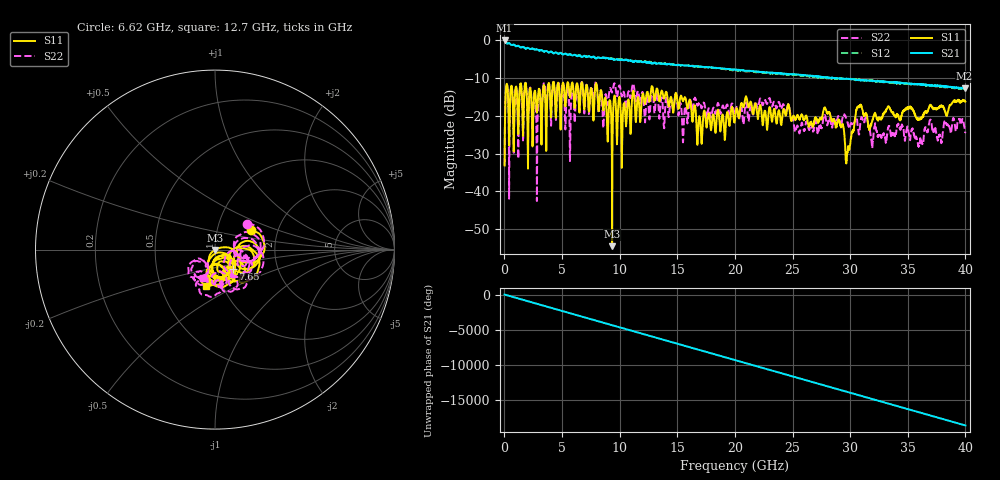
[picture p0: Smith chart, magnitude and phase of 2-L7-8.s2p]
! 2/21/2025 7:19:11 AM
! Z:\OQC\AD5\613\LOT-141-0825\SINGLE\2-L7-8.S2P
! CHANNEL.1
! TR.MEASUREMENT
! CORRECTED.DATA
! RF.CORRECTION: FULL.FOUR.PORT.CAL.PORT.1.2.3.4
! AVERAGING.OFF
! IF.BANDWIDTH: 1KHZ
! SWEEPTYPE:  FREQ.SWEEP(Linear)
! Reference Plane Port Info
! PORT:  PORT1  PORT2
! DISTANCE:  0  m  0  m
! TIME:  0  s  0  s
! PHASE.OFFSET:  0 °  0 °
! LOSS:  0  dB  0  dB
! REF.LOSS:  0  dB  0  dB
! REF.FREQ:  0  Hz  0  Hz
! Power Info
! POWER:  -10  dBm  -10  dBm
! EFF.POWER:  -10  dBm  -10  dBm
! SOURCE.ATTEN:  0  dB  0  dB
! TEST.ATTEN:  0  dB  0  dB
# GHZ S RI R 50.0
! FREQ.GHZ  S11RE  S11IM  S21RE  S21IM  S12RE  S12IM  S22RE  S22IM
!; PortSelection: Port_12
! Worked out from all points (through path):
!   4000 points, 10 MHz to 40 GHz, reference 50 ohm
!   highest |S21| = -0.14 dB at 10 MHz (marker M1); lowest = -12.8 dB at 39.93 GHz (marker M2)
!   group delay of S21, straight-line fit = 1.29 ns
!   lowest |S11| = -54.5 dB at 9.34 GHz (marker M3), VSWR 1.00, Z = 50.1 - j0.18 ohm
!   |S11| at or under -10 dB: start of sweep to end of sweep
!   |S22| runs from -42.5 to -11.0 dB; largest |S21 - S12| = 0.022
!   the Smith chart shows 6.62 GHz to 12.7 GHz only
!   S11 on the Smith chart (normalised r, x): 6.62 GHz: 1.45, +0.33; 7.65 GHz: 1.19, -0.26; 12.7 GHz: 0.84, -0.36
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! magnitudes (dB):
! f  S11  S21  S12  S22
! 10 MHz  -33.1  -0.1  -0.1  -33.1
! 270 MHz  -12.8  -1.0  -1.0  -13.0
! 6.62 GHz  -12.9  -4.3  -4.2  -12.7
! 6.68 GHz  -11.4  -4.5  -4.3  -11.2
! 7.65 GHz  -16.6  -4.5  -4.4  -14.7
! 8.68 GHz  -16.0  -4.8  -4.7  -16.5
! 9.34 GHz  -54.5  -5.0  -4.9  -13.8
! 12.7 GHz  -13.6  -6.1  -6.1  -15.2
! 13.34 GHz  -14.1  -6.2  -6.2  -16.4
! 15.55 GHz  -15.9  -6.7  -6.7  -22.8
! 16.92 GHz  -20.2  -7.0  -7.1  -16.6
! 20.01 GHz  -20.5  -7.9  -8.0  -19.5
! 22.92 GHz  -19.3  -8.6  -8.8  -15.7
! 26.67 GHz  -22.2  -9.4  -9.6  -23.1
! 27.93 GHz  -18.8  -9.9  -10.1  -21.3
! 29.25 GHz  -22.7  -10.2  -10.3  -22.3
! 29.77 GHz  -29.7  -10.3  -10.3  -21.8
! 30.72 GHz  -17.7  -10.6  -10.6  -24.2
! 31.72 GHz  -23.0  -10.7  -10.8  -23.9
! 33.34 GHz  -17.6  -11.1  -11.2  -22.7
! 39.93 GHz  -16.0  -12.8  -12.8  -23.4
! 40 GHz  -16.3  -12.7  -12.9  -24.3
